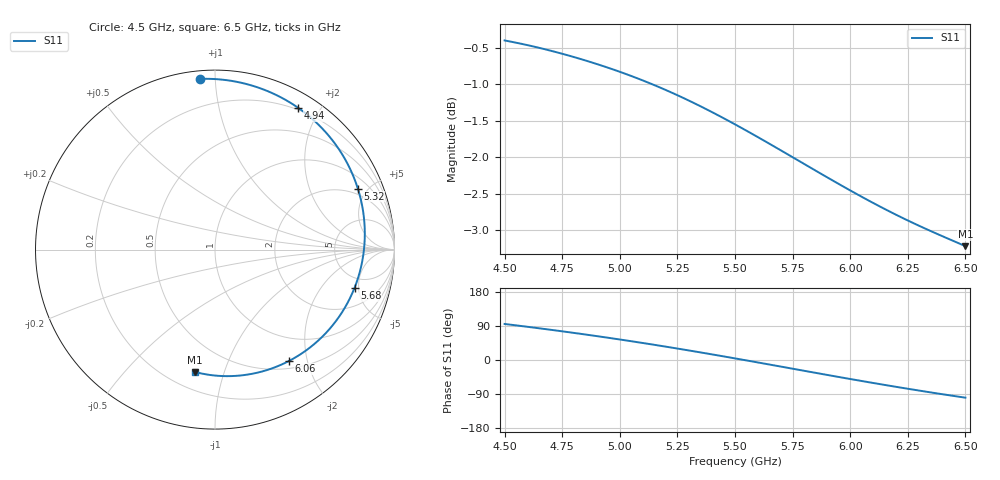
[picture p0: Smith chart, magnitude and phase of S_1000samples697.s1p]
! TOUCHSTONE file generated by CST MICROWAVE STUDIO
! Date and time: Sat Oct 29 01:51:14 2022
! Project name: L.cst
! Parameters = {Di=1.27; Epsilon_r=1.56; InnerDiameter=1.27; Length=2; Lf=10; Lg=60; OuterConductorThickness=0.2921; OuterDiameter=3.6; Wf=3; Wp=41.2; de=1.5; df=6.8; g=0.8; gx=3.82012; gy=4.06843; h=2.34; hf=1.524; px=12.1579; py=9.19553; w=9.7; wx=8.33774; wy=5.12709}
! Header version: 2018
! Port assignment regex: !\s*Touchstone port\s*([0-9]+)\s*=\s*(CST MWS port|CST DS port)\s*([0-9]+|Zmin|Zmax)\s*\(\"(.*)\"\)(\s*mode\s*([0-9]+))?.*
! Touchstone port assignment:
! Touchstone port 1 = CST MWS port 1 ("")
# GHz S DB R 50
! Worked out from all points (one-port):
!   101 points, 4.5 GHz to 6.5 GHz, reference 50 ohm
!   lowest |S11| = -3.2 dB at 6.5 GHz (marker M1), VSWR 5.46, Z = 15.4 - j40 ohm
!   |S11| at or under -10 dB: nowhere
!   S11 on the Smith chart (normalised r, x): 4.5 GHz: 0.04, +0.91; 4.94 GHz: 0.18, +1.74; 5.32 GHz: 1.60, +4.32; 5.68 GHz: 3.70, -4.49; 6.06 GHz: 0.61, -1.70; 6.5 GHz: 0.31, -0.80
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4.5  -0.40 95.1
4.58  -0.45 89.1
4.64  -0.50 84.5
4.7  -0.54 79.7
4.76  -0.59 74.9
4.86  -0.68 66.5
4.94  -0.77 59.5
5  -0.83 54.1
5.06  -0.90 48.6
5.14  -1.00 41.0
5.2  -1.08 35.2
5.26  -1.17 29.2
5.32  -1.26 23.1
5.42  -1.42 12.7
5.5  -1.55 4.2
5.58  -1.69 -4.4
5.68  -1.87 -15.3
5.76  -2.02 -24.1
5.82  -2.13 -30.6
5.88  -2.24 -37.2
5.94  -2.35 -43.7
6  -2.45 -50.1
6.06  -2.56 -56.5
6.16  -2.73 -66.8
6.26  -2.88 -76.8
6.32  -2.97 -82.7
6.38  -3.05 -88.4
6.5  -3.22 -99.4
